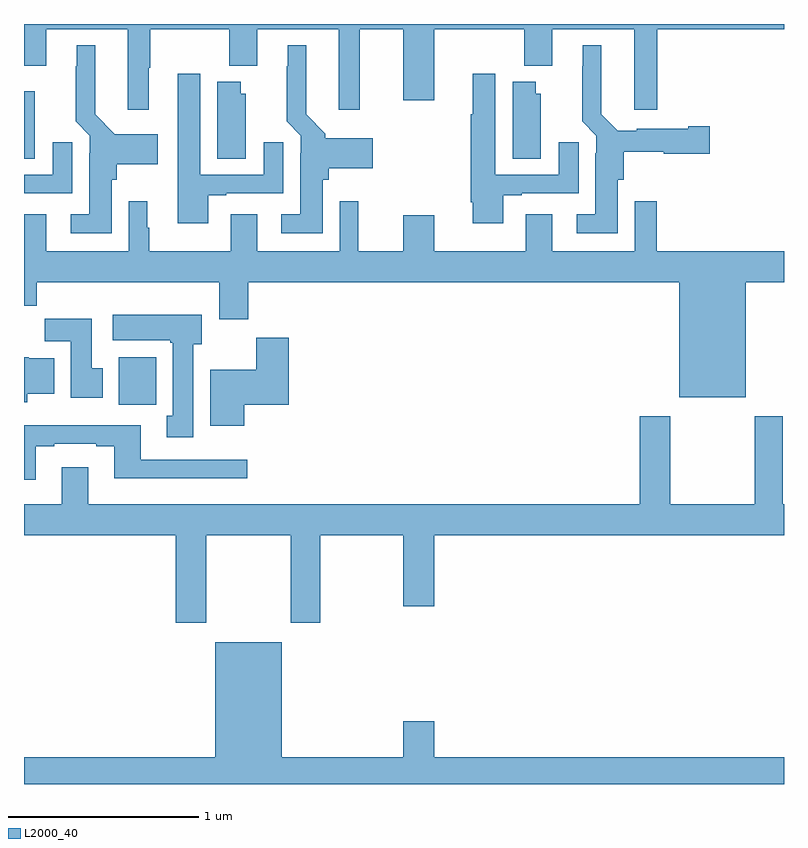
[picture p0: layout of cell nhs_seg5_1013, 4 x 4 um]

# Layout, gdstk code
import gdstk
lib = gdstk.Library(unit=1e-6, precision=1e-09)
def R(c, l, rs):  # rectangles x0, y0, x1, y1
    for r in rs: c.add(gdstk.rectangle(r[:2], r[2:], *l))
def P(c, l, *ps):  # polygons
    for p in ps: c.add(gdstk.Polygon(p, *l))
L2000_40 = (2000, 40)

nhs_seg5_1013 = lib.new_cell('nhs_seg5_1013')
R(nhs_seg5_1013, L2000_40, [(175.499,842.796,175.695,843.046), (175,844.09,175.057,844.444)])
P(nhs_seg5_1013, L2000_40, [(175.657,844.568),(175.665,844.568),(175.665,844.772),(176.08,844.772),(176.08,844.58),(176.227,844.58),(176.227,844.772),(176.657,844.772),(176.657,844.347),(176.767,844.347),(176.767,844.772),(176.996,844.772),(176.996,844.398),(177.16,844.398),(177.16,844.772),(177.634,844.772),(177.634,844.58),(177.781,844.58),(177.781,844.772),(178.211,844.772),(178.211,844.347),(178.334,844.347),(178.334,844.772),(179,844.772),(179,844.799),(175,844.799),(175,844.578),(175.117,844.578),(175.117,844.772),(175.547,844.772),(175.547,844.347),(175.657,844.347)],
  [(175.462,843.978),(175.488,843.978),(175.488,844.061),(175.705,844.061),(175.705,844.219),(175.476,844.219),(175.476,844.222),(175.375,844.324),(175.375,844.687),(175.277,844.687),(175.277,844.577),(175.273,844.577),(175.273,844.286),(175.347,844.212),(175.347,844.118),(175.343,844.118),(175.343,843.799),(175.245,843.799),(175.245,843.698),(175.462,843.698)],
  [(176.572,843.978),(176.603,843.978),(176.603,844.04),(176.836,844.04),(176.836,844.198),(176.586,844.198),(176.586,844.222),(176.485,844.324),(176.485,844.687),(176.387,844.687),(176.387,844.577),(176.383,844.577),(176.383,844.286),(176.457,844.212),(176.457,844.118),(176.453,844.118),(176.453,843.799),(176.355,843.799),(176.355,843.698),(176.572,843.698)],
  [(178.126,843.978),(178.157,843.978),(178.157,844.127),(178.368,844.127),(178.368,844.115),(178.609,844.115),(178.609,844.262),(178.496,844.262),(178.496,844.249),(178.224,844.249),(178.224,844.237),(178.125,844.237),(178.039,844.324),(178.039,844.687),(177.941,844.687),(177.941,844.577),(177.937,844.577),(177.937,844.286),(178.011,844.212),(178.011,844.118),(178.007,844.118),(178.007,843.799),(177.909,843.799),(177.909,843.698),(178.126,843.698)],
  [(175.969,843.897),(176.065,843.897),(176.065,843.909),(176.365,843.909),(176.365,844.177),(176.261,844.177),(176.261,844.005),(175.927,844.005),(175.927,844.537),(175.808,844.537),(175.808,843.75),(175.969,843.75)],
  [(177.523,843.897),(177.619,843.897),(177.619,843.909),(177.919,843.909),(177.919,844.177),(177.815,844.177),(177.815,844.005),(177.481,844.005),(177.481,844.537),(177.362,844.537),(177.362,844.324),(177.35,844.324),(177.35,843.862),(177.362,843.862),(177.362,843.75),(177.523,843.75)],
  [(176.167,844.431),(176.14,844.431),(176.14,844.495),(176.018,844.495),(176.018,844.09),(176.167,844.09)],
  [(177.721,844.431),(177.694,844.431),(177.694,844.495),(177.572,844.495),(177.572,844.09),(177.721,844.09)],
  [(175.255,844.177),(175.151,844.177),(175.151,844.005),(175,844.005),(175,843.909),(175.255,843.909)],
  [(178.331,843.865),(178.215,843.865),(178.215,843.604),(177.781,843.604),(177.781,843.799),(177.641,843.799),(177.641,843.604),(177.16,843.604),(177.16,843.793),(176.996,843.793),(176.996,843.604),(176.76,843.604),(176.76,843.865),(176.661,843.865),(176.661,843.604),(176.227,843.604),(176.227,843.799),(176.087,843.799),(176.087,843.604),(175.66,843.604),(175.66,843.726),(175.648,843.726),(175.648,843.865),(175.551,843.865),(175.551,843.604),(175.117,843.604),(175.117,843.799),(175,843.799),(175,843.316),(175.067,843.316),(175.067,843.44),(176.027,843.44),(176.027,843.246),(176.18,843.246),(176.18,843.44),(178.448,843.44),(178.448,842.834),(178.798,842.834),(178.798,843.44),(179,843.44),(179,843.604),(178.331,843.604)],
  [(175.891,843.114),(175.936,843.114),(175.936,843.268),(175.467,843.268),(175.467,843.134),(175.771,843.134),(175.771,843.121),(175.784,843.121),(175.784,842.737),(175.751,842.737),(175.751,842.625),(175.891,842.625)],
  [(175.414,842.988),(175.357,842.988),(175.357,843.247),(175.108,843.247),(175.108,843.128),(175.247,843.128),(175.247,842.832),(175.414,842.832)],
  [(176.158,842.795),(176.393,842.795),(176.393,843.148),(176.222,843.148),(176.222,842.98),(175.979,842.98),(175.979,842.684),(176.158,842.684)],
  [(175.018,842.852),(175.159,842.852),(175.159,843.04),(175.026,843.04),(175.026,843.046),(175,843.046),(175,842.808),(175.018,842.808)],
  [(175.199,842.467),(175.199,842.272),(175,842.272),(175,842.108),(175.799,842.108),(175.799,841.647),(175.959,841.647),(175.959,842.108),(176.404,842.108),(176.404,841.647),(176.559,841.647),(176.559,842.108),(176.996,842.108),(176.996,841.734),(177.16,841.734),(177.16,842.108),(179,842.108),(179,842.272),(178.993,842.272),(178.993,842.734),(178.846,842.734),(178.846,842.272),(178.401,842.272),(178.401,842.734),(178.241,842.734),(178.241,842.272),(175.339,842.272),(175.339,842.467)],
  [(175.063,842.577),(175.159,842.577),(175.159,842.589),(175.379,842.589),(175.379,842.577),(175.475,842.577),(175.475,842.408),(176.176,842.408),(176.176,842.505),(175.615,842.505),(175.615,842.686),(175,842.686),(175,842.4),(175.063,842.4)],
  [(179,840.94),(177.16,840.94),(177.16,841.129),(176.996,841.129),(176.996,840.94),(176.356,840.94),(176.356,841.546),(176.006,841.546),(176.006,840.94),(175,840.94),(175,840.799),(179,840.799)])

lib.write_gds('nhs_seg5_1013.gds')
